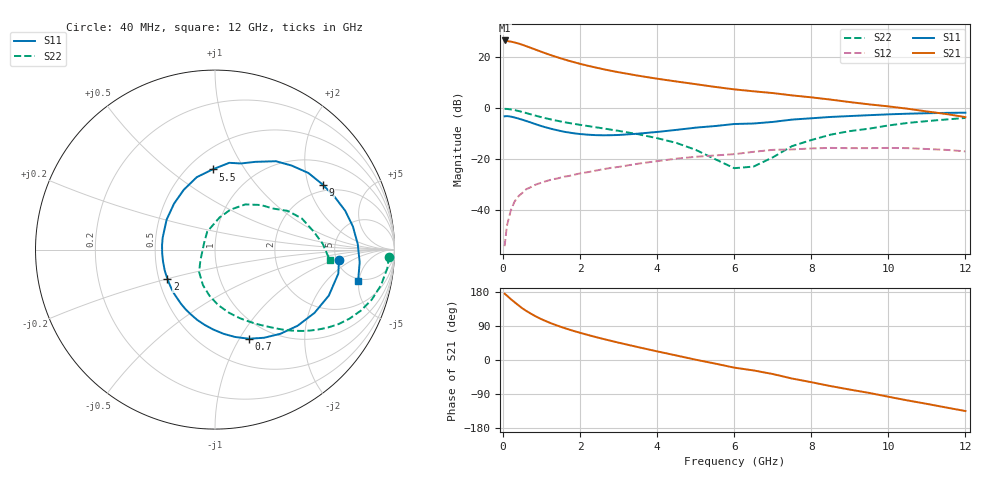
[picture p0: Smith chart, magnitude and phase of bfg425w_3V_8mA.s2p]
! Filename: 38bfg425.001
! BFG425W Field C1
! V1=8.355E-001V,V2=3.000E+000V, I1=1.001E-004A, I2=8.000E-003A
# GHz  S  MA  R 50
!  S11  S21  S12  S22
!Freq(GHz)  Mag  Ang  Mag  Ang  Mag  Ang  Mag  Ang
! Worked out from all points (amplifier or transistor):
!   44 points, 40 MHz to 12 GHz, reference 50 ohm
!   highest |S21| = 26.5 dB at 40 MHz (marker M1)
!   |S21| within 3 dB of that: start of sweep to 738.7 MHz
!   unconditionally stable (mu >= 1): 2.08 GHz to end of sweep
!   at 700 MHz: K = 0.46, MSG = 27.4 dB, |S12| = -31.1 dB
!   at 2.4 GHz: K = 1.07, MAG = 18.5 dB, |S12| = -24.4 dB
!   at 12 GHz: K = 1.42, MAG = 2.9 dB, |S12| = -16.9 dB
!   S11 on the Smith chart (normalised r, x): 40 MHz: 5.26, -1.14; 700 MHz: 0.79, -1.10; 2 GHz: 0.55, -0.20; 5.5 GHz: 0.65, +0.73; 9 GHz: 1.75, +2.49; 12 GHz: 4.73, -4.88
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0.04  0.693 -4.6  21.1 175.1  0.002 69.5  0.97 -2.3
0.2  0.684 -22.0  20.05 160.8  0.01 76.5  0.946 -12.1
0.3  0.657 -32.4  19.27 152.4  0.015 72.3  0.917 -17.7
0.4  0.626 -42.7  18.36 144.3  0.019 67.4  0.881 -22.7
0.5  0.594 -52.1  17.4 136.4  0.022 63.4  0.842 -27.2
0.6  0.562 -61.0  16.32 129.7  0.026 59.9  0.803 -31.2
0.7  0.531 -69.2  15.31 123.6  0.028 56.9  0.764 -34.7
0.9  0.471 -84.3  13.46 112.5  0.033 52.5  0.695 -40.5
1.2  0.404 -104.2  11.15 98.8  0.039 48.0  0.612 -47.4
1.4  0.371 -116.1  9.939 91.1  0.042 45.8  0.568 -51.1
1.6  0.344 -127.5  8.931 84.1  0.046 44.1  0.531 -54.5
2  0.312 -148.1  7.372 71.7  0.053 41.1  0.472 -61.0
2.2  0.303 -157.9  6.764 66.2  0.056 39.6  0.447 -64.2
3  0.299 167.0  5.043 45.7  0.071 33.0  0.36 -77.5
3.5  0.317 148.3  4.326 34.1  0.082 27.8  0.31 -86.6
4.5  0.376 117.6  3.324 11.9  0.103 15.3  0.209 -108.8
5.5  0.447 91.7  2.607 -9.4  0.119 1.1  0.101 -143.7
6.5  0.501 73.3  2.138 -27.5  0.14 -9.6  0.072 146.5
8.5  0.673 39.4  1.472 -68.8  0.167 -46.0  0.303 56.2
9  0.701 31.1  1.315 -78.1  0.165 -54.3  0.356 44.3
10.5  0.779 9.5  0.975 -106.7  0.165 -81.4  0.514 19.7
12  0.816 -12.2  0.668 -134.6  0.143 -112.0  0.643 -5.4
